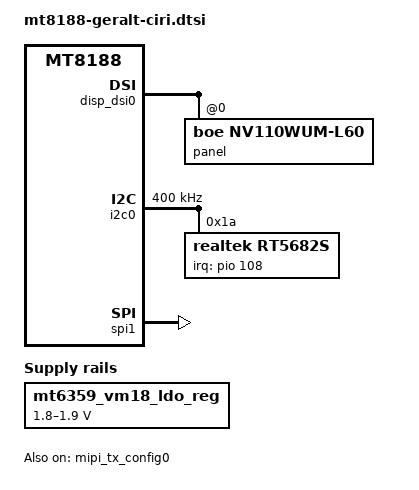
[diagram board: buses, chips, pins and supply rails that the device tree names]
// SPDX-License-Identifier: (GPL-2.0 OR MIT)
/*
 * Copyright 2023 Google LLC
 */
/dts-v1/;
#include "mt8188-geralt.dtsi"

/delete-node/ &dp_intf0;
/delete-node/ &edp_tx;
/delete-node/ &panel;
/delete-node/ &backlight_lcd0;
/delete-node/ &pp3300_dx_edp;
/delete-node/ &nau8825;
/delete-node/ &max98390_3a;
/delete-node/ &max98390_3b;

&disp_dsi0 {
	panel: panel1@0 {
		compatible = "boe,nv110wum-l60";
	};
};

&disp_pwm1 {
	status = "disabled";
};

&dmic_codec {
	wakeup-delay-ms = <100>;
};

&i2c0 {
	pinctrl-names = "default";
	pinctrl-0 = <&i2c0_pin>;
	clock-frequency = <400000>;
	status = "okay";

	rt5682s: rt5682s@1a {
		compatible = "realtek,rt5682s";
		reg = <0x1a>;
		interrupt-parent = <&pio>;
		interrupts = <108 IRQ_TYPE_EDGE_BOTH>;
		realtek,jd-src = <1>;
		#sound-dai-cells = <0>;
		status = "okay";
	};
};

&max98390_38 {
	sound-name-prefix = "Front Right";
	maxim,dsm_param_name = "dsm_param.bin";
};

&max98390_39 {
	sound-name-prefix = "Front Left";
	maxim,dsm_param_name = "dsm_param.bin";
};

&mipi_tx_config0 {
	status = "okay";
	drive-strength-microamp = <5200>;
};

&mt6359_vm18_ldo_reg {
	regulator-min-microvolt = <1800000>;
	regulator-microvolt-offset = <100000>;
	regulator-max-microvolt = <1900000>;
};

&i2c2 {
	status = "disabled";
};

&mmc1 {
	status = "disabled";
};

&ap_sar_sensor {
	status = "disabled";
};

&sound {
	compatible = "mediatek,mt8188-rt5682s";
	model = "mt8188_m98390_5682";

	audio-routing =
		"ETDM1_OUT", "ETDM_SPK_PIN",
		"ETDM2_OUT", "ETDM_HP_PIN",
		"ETDM1_IN", "ETDM_SPK_PIN",
		"ETDM2_IN", "ETDM_HP_PIN",
		"ADDA Capture", "MTKAIF_PIN",
		"Headphone Jack", "HPOL",
		"Headphone Jack", "HPOR",
		"IN1P", "Headset Mic",
		"Left Spk", "Front Left BE_OUT",
		"Right Spk", "Front Right BE_OUT";
	status = "okay";

	dai-link-0 {
		link-name = "ETDM2_OUT_BE";
		mediatek,clk-provider = "cpu";
		codec {
			sound-dai = <&rt5682s>;
		};
	};

	dai-link-1 {
		link-name = "ETDM2_IN_BE";
		mediatek,clk-provider = "cpu";
		codec {
			sound-dai = <&rt5682s>;
		};
	};

	dai-link-2 {
		link-name = "ETDM1_OUT_BE";
		dai-format = "i2s";
		mediatek,clk-provider = "cpu";
		codec {
			sound-dai = <&max98390_38>,
				    <&max98390_39>;
		};
	};

	dai-link-3 {
		link-name = "ETDM1_IN_BE";
		dai-format = "i2s";
		mediatek,clk-provider = "cpu";
	};
};

&spi1 {
	pinctrl-names = "default", "sleep";
	pinctrl-0 = <&spi1_pins_default>;
	pinctrl-1 = <&spi1_pins_sleep>;
	status = "okay";
	dma-names = "tx","rx";
	num-cs = <1>;
	#address-cells = <1>;
	#size-cells = <0>;

	touchscreen: hid_hx_common_spi@0 {
		compatible = "himax,hx83102j";
		pinctrl-names = "default";
		pinctrl-0 = <&touchscreen_pins &touch_reset>;
		panel = <&panel>;
		reg = <0>;
		spi-max-frequency = <12500000>;
		status = "okay";
		reset-gpios = <&pio 5  GPIO_ACTIVE_LOW>;
		himax_gpio_irq = <&pio 143  IRQ_TYPE_LEVEL_LOW>;
		himax,pid = <0x1002>;

		interrupt-parent = <&pio>;
		interrupts = <143 IRQ_TYPE_LEVEL_LOW>;
		irq_flag = <0x02>;
	};
};

&thermal_zones {
	soc_max {
		trips {
			target: target@1 {
				temperature = <90000>;
				hysteresis = <2000>;
				type = "passive";
			};
		};
	};
};

&pio {
	pinctrl-names = "default";

	gpio-line-names =
		"GSC_AP_INT_ODL",
		"AP_DISP_BKLTEN",
		"",
		"EN_PPVAR_MIPI_DISP",
		"EN_PPVAR_MIPI_DISP_150MA",
		"TCHSCR_RST_1V8_L",
		"",
		"",
		"",
		"",
		"",
		"I2S_SPKR_DATAOUT",
		"EN_PP3300_WLAN_X",
		"WIFI_KILL_1V8_L",
		"BT_KILL_1V8_L",
		"AP_FLASH_WP_L",
		"",
		"",
		"WCAM_PWDN_L",
		"WCAM_RST_L",
		"UCAM_PWDM_L",
		"UCAM_RST_L",
		"WCAM_24M_CLK",
		"UCAM_24M_CLK",
		"MT6319_INT",
		"DISP_RST_1V8_L",
		"DSIO_DSI_TE",
		"",
		"TP",
		"MIPI_BL_PWM_1V8",
		"",
		"UART_AP_TX_GSC_RX",
		"UART_GSC_TX_AP_RX",
		"UART_SSPM_TX_DBGCON_RX",
		"UART_DBGCON_TX_SSPM_RX",
		"UART_ADSP_TX_DBGCON_RX",
		"UART_DBGCON_TX_ADSP_RX",
		"JTAG_AP_TMS",
		"JTAG_AP_TCK",
		"JTAG_AP_TDI",
		"JTAG_AP_TDO",
		"JTAG_AP_TRST",
		"AP_KPCOL0",
		"TP",
		"",
		"TP",
		"EC_AP_HPD_OD",
		"PCIE_WAKE_1V8_ODL",
		"PCIE_RST_1V8_L",
		"PCIE_CLKREQ_1V8_ODL",
		"NC",
		"NC",
		"",
		"",
		"",
		"AP_I2C_AUD_SCL_1V8",
		"AP_I2C_AUD_SDA_1V8",
		"AP_I2C_TPM_SCL_1V8",
		"AP_I2C_TPM_SDA_1V8",
		"AP_I2C_TCHSCR_SCL_1V8",
		"AP_I2C_TCHSCR_SDA_1V8",
		"AP_I2C_PMIC_SAR_SCL_1V8",
		"AP_I2C_PMIC_SAR_SDA_1V8",
		"AP_I2C_EC_HID_KB_SCL_1V8",
		"AP_I2C_EC_HID_KB_SDA_1V8",
		"AP_I2C_UCAM_SCL_1V8",
		"AP_I2C_UCAM_SDA_1V8",
		"AP_I2C_WCAM_SCL_1V8",
		"AP_I2C_WCAM_SDA_1V8",
		"SPI_AP_CS_EC_L",
		"SPI_AP_CLK_EC",
		"SPI_AP_DO_EC_DI",
		"SPI_AP_DI_EC_DO",
		"TP",
		"TP",
		"SPI_AP_CS_TCHSCR_L",
		"SPI_AP_CLK_TCHSCR",
		"SPI_AP_DO_TCHSCR_DI",
		"SPI_AP_DI_TCHSCR_DO",
		"TP",
		"TP",
		"TP",
		"TP",
		"",
		"",
		"",
		"TP",
		"",
		"",
		"",
		"",
		"",
		"PWRAP_SPI_CS_L",
		"PWRAP_SPI_CK",
		"PWRAP_SPI_MOSI",
		"PWRAP_SPI_MISO",
		"SRCLKENA0",
		"SRCLKENA1",
		"SCP_VREQ_VAO",
		"AP_RTC_CLK32K",
		"AP_PMIC_WDTRST_L",
		"AUD_CLK_MOSI",
		"AUD_SYNC_MOSI",
		"AUD_DAT_MOSI0",
		"AUD_DAT_MOSI1",
		"AUD_DAT_MISO0",
		"AUD_DAT_MISO1",
		"",
		"HP_INT_ODL",
		"SPKR_INT_ODL",
		"I2S_HP_DATAIN",
		"",
		"I2S_SPKR_MCLK",
		"I2S_SPKR_BCLK",
		"I2S_HP_MCLK",
		"I2S_HP_BCLK",
		"I2S_HP_LRCK",
		"I2S_HP_DATAOUT",
		"RST_SPKR_L",
		"I2S_SPKR_LRCK",
		"I2S_SPKR_DATAIN",
		"",
		"",
		"",
		"",
		"SPI_AP_CLK_ROM",
		"SPI_AP_CS_ROM_L",
		"SPI_AP_DO_ROM_DI",
		"SPI_AP_DI_ROM_DO",
		"TP",
		"TP",
		"",
		"",
		"",
		"",
		"",
		"",
		"",
		"",
		"EN_PP2800A_UCAM_X",
		"EN_PP1200_UCAM_X",
		"EN_PP2800A_WCAM_X",
		"EN_PP1100_WCAM_X",
		"TCHSCR_INI_1V8_L",
		"",
		"MT7921_PMU_EN_1V8",
		"",
		"AP_EC_WARM_RST_REQ",
		"EC_AP_HID_INT_ODL",
		"EC_AP_INT_ODL",
		"AP_XHCI_INIT_DONE",
		"EMMC_DAT7",
		"EMMC_DAT6",
		"EMMC_DAT5",
		"EMMC_DAT4",
		"EMMC_RST_L",
		"EMMC_CMD",
		"EMMC_CLK",
		"EMMC_DAT3",
		"EMMC_DAT2",
		"EMMC_DAT1",
		"EMMC_DAT0",
		"EMMC_STRB",
		"",
		"",
		"",
		"",
		"",
		"",
		"",
		"",
		"USB3_HUB_RST_L",
		"EC_AP_RSVD0_ODL",
		"",
		"",
		"SPMI_SCL",
		"SPMI_SDA";

	aud_etdm_hp_on: aud_etdm_hp_on {
		pins-cmd-dat {
			pinmux = <PINMUX_GPIO110__FUNC_I0_I2SIN_D0>,
				 <PINMUX_GPIO114__FUNC_O_I2SO2_MCK>,
				 <PINMUX_GPIO115__FUNC_B0_I2SO2_BCK>,
				 <PINMUX_GPIO116__FUNC_B0_I2SO2_WS>,
				 <PINMUX_GPIO117__FUNC_O_I2SO2_D0>;
		};
	};

	aud_etdm_hp_off: aud_etdm_hp_off {
		pins-cmd-dat {
			pinmux = <PINMUX_GPIO110__FUNC_B_GPIO110>,
				 <PINMUX_GPIO114__FUNC_B_GPIO114>,
				 <PINMUX_GPIO115__FUNC_B_GPIO115>,
				 <PINMUX_GPIO116__FUNC_B_GPIO116>,
				 <PINMUX_GPIO117__FUNC_B_GPIO117>;
			bias-pull-down;
			input-enable;
		};
	};

	touch_reset: touch-reset {
		pins-rst {
			pinmux = <PINMUX_GPIO5__FUNC_B_GPIO5>;
			output-high;
		};
	};

	spi1_pins_default: spi1-pins-default {
		pins-bus {
			pinmux = <PINMUX_GPIO75__FUNC_O_SPIM1_CSB>,
				 <PINMUX_GPIO76__FUNC_O_SPIM1_CLK>,
				 <PINMUX_GPIO77__FUNC_B0_SPIM1_MOSI>,
				 <PINMUX_GPIO78__FUNC_B0_SPIM1_MISO>;
			bias-disable;
			drive-strength = <MTK_DRIVE_10mA>;
		};
	};

	spi1_pins_sleep: spi1-pins-sleep {
		pins-bus {
			pinmux = <PINMUX_GPIO75__FUNC_B_GPIO75>,
				 <PINMUX_GPIO76__FUNC_B_GPIO76>,
				 <PINMUX_GPIO77__FUNC_B_GPIO77>,
				 <PINMUX_GPIO78__FUNC_B_GPIO78>;
			bias-pull-down;
			input-enable;
		};
	};
};
